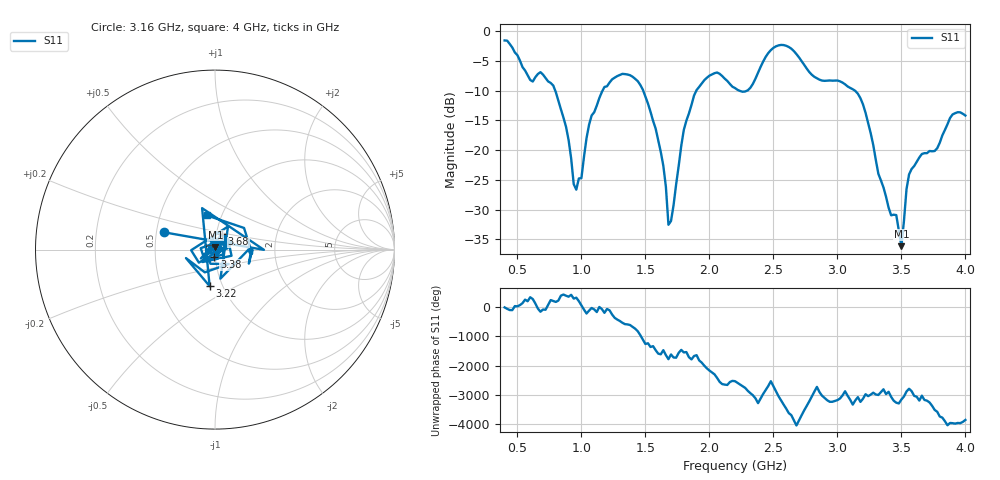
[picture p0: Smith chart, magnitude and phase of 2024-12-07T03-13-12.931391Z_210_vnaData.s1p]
!Created with skrf (http://scikit-rf.org).
# Hz S RI R 50.0
!freq ReS11 ImS11
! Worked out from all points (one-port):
!   181 points, 400 MHz to 4 GHz, reference 50 ohm
!   lowest |S11| = -36.1 dB at 3.5 GHz (marker M1), VSWR 1.03, Z = 50.2 + j1.55 ohm
!   |S11| at or under -10 dB: 795.3 MHz to 1.166 GHz (370.3 MHz wide, 37.8 % of centre); 1.483 GHz to 1.898 GHz (415.6 MHz wide, 24.6 % of centre); 3.136 GHz to end of sweep (the widest 3 of 4)
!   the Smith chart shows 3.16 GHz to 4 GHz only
!   S11 on the Smith chart (normalised r, x): 3.16 GHz: 0.55, +0.12; 3.22 GHz: 0.87, -0.37; 3.38 GHz: 0.99, -0.08; 3.68 GHz: 1.07, +0.18; 4 GHz: 0.85, +0.34
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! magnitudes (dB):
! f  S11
! 400 MHz  -1.6
! 600 MHz  -8.2
! 780 MHz  -9.2
! 860 MHz  -14.6
! 960 MHz  -26.6
! 1 GHz  -24.7
! 1.08 GHz  -14.2
! 1.3 GHz  -7.4
! 1.52 GHz  -12.2
! 1.64 GHz  -22.6
! 1.68 GHz  -32.5
! 1.76 GHz  -22.7
! 1.8 GHz  -16.6
! 1.9 GHz  -9.9
! 2.06 GHz  -7.0
! 2.2 GHz  -9.6
! 2.32 GHz  -9.5
! 2.5 GHz  -2.8
! 2.66 GHz  -3.4
! 3.1 GHz  -9.6
! 3.16 GHz  -10.5
! 3.22 GHz  -13.7
! 3.38 GHz  -27.8
! 3.46 GHz  -30.9
! 3.5 GHz  -36.1
! 3.56 GHz  -24.1
! 3.68 GHz  -20.5
! 4 GHz  -14.2
